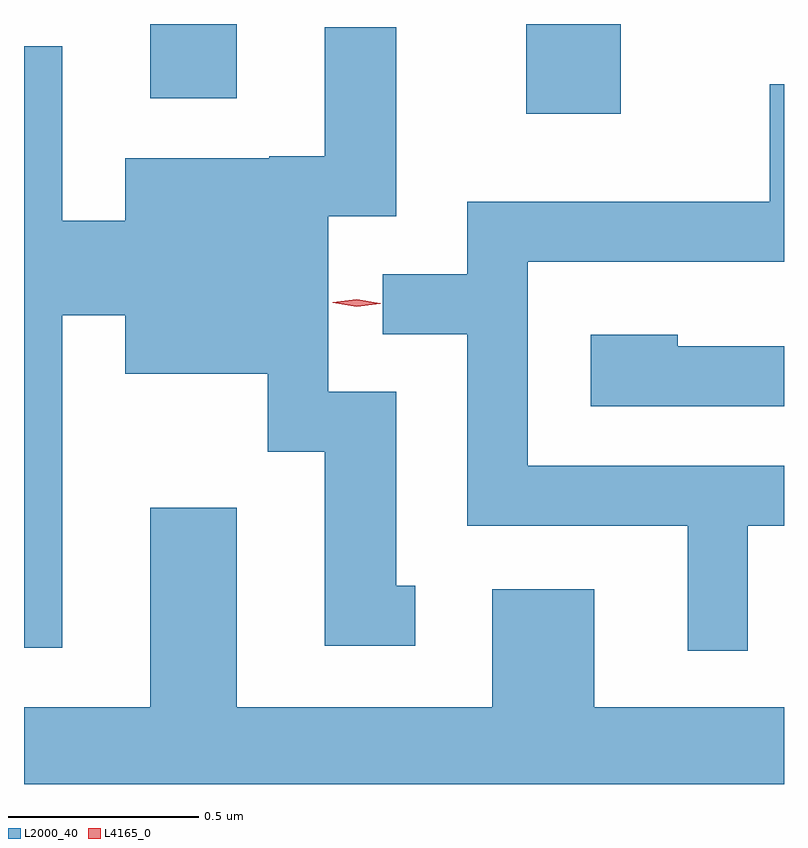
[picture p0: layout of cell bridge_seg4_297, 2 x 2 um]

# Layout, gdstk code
import gdstk
lib = gdstk.Library(unit=1e-6, precision=1e-09)
def R(c, l, rs):  # rectangles x0, y0, x1, y1
    for r in rs: c.add(gdstk.rectangle(r[:2], r[2:], *l))
def P(c, l, *ps):  # polygons
    for p in ps: c.add(gdstk.Polygon(p, *l))
L2000_40 = (2000, 40)
L4165_0 = (4165, 0)

bridge_seg4_297 = lib.new_cell('bridge_seg4_297')
R(bridge_seg4_297, L2000_40, [(505.461,1267.706,505.709,1267.942), (504.471,1267.746,504.699,1267.942)])
P(bridge_seg4_297, L2000_40, [(504.239,1267.176),(504.406,1267.176),(504.406,1267.021),(504.781,1267.021),(504.781,1266.816),(504.931,1266.816),(504.931,1266.306),(505.168,1266.306),(505.168,1266.464),(505.119,1266.464),(505.119,1266.974),(504.939,1266.974),(504.939,1267.436),(505.119,1267.436),(505.119,1267.934),(504.931,1267.934),(504.931,1267.594),(504.785,1267.594),(504.785,1267.589),(504.406,1267.589),(504.406,1267.424),(504.239,1267.424),(504.239,1267.884),(504.139,1267.884),(504.139,1266.301),(504.239,1266.301)],
  [(506.044,1266.621),(506.139,1266.621),(506.139,1266.779),(505.464,1266.779),(505.464,1267.316),(506.139,1267.316),(506.139,1267.784),(506.101,1267.784),(506.101,1267.474),(505.306,1267.474),(505.306,1267.284),(505.083,1267.284),(505.083,1267.126),(505.306,1267.126),(505.306,1266.621),(505.886,1266.621),(505.886,1266.293),(506.044,1266.293)],
  [(506.139,1267.094),(505.859,1267.094),(505.859,1267.124),(505.631,1267.124),(505.631,1266.936),(506.139,1266.936)],
  [(506.139,1266.144),(505.639,1266.144),(505.639,1266.454),(505.371,1266.454),(505.371,1266.144),(504.699,1266.144),(504.699,1266.669),(504.471,1266.669),(504.471,1266.144),(504.139,1266.144),(504.139,1265.942),(506.139,1265.942)])
P(bridge_seg4_297, L4165_0, [(505.014,1267.198),(504.951,1267.209),(504.951,1267.209),(504.951,1267.21),(505.015,1267.218),(505.077,1267.207),(505.078,1267.207),(505.077,1267.206)])

lib.write_gds('bridge_seg4_297.gds')
